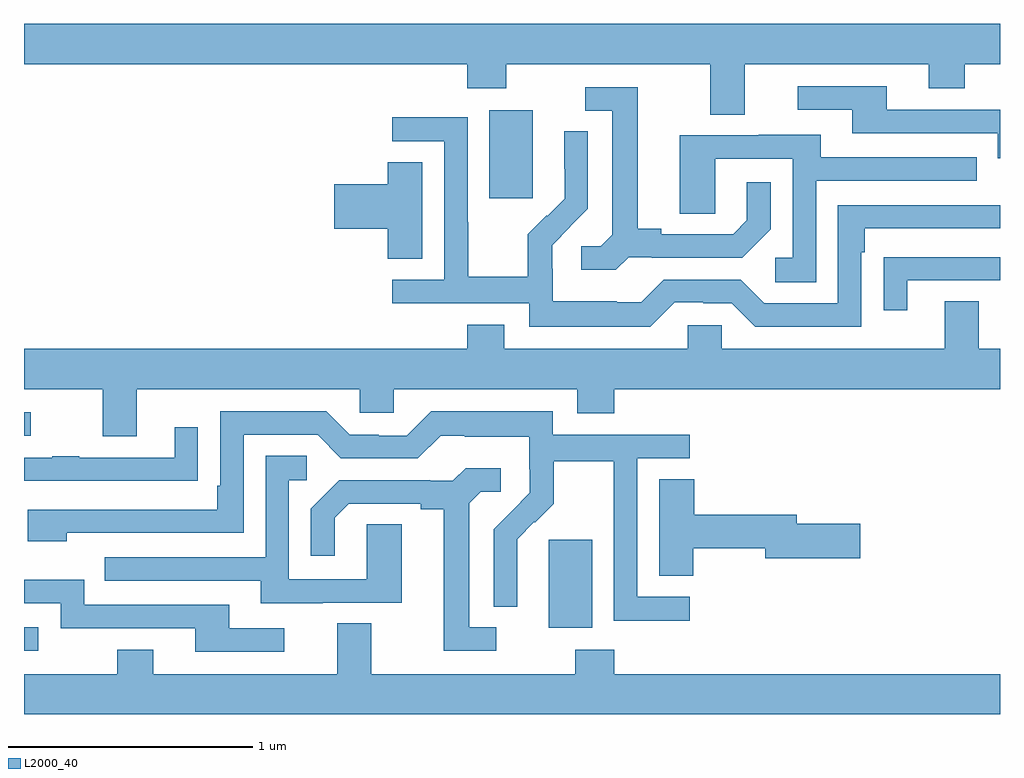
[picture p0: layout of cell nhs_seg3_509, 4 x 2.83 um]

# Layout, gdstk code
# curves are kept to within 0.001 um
import gdstk
lib = gdstk.Library(unit=1e-6, precision=1e-09)
def R(c, l, rs):  # rectangles x0, y0, x1, y1
    for r in rs: c.add(gdstk.rectangle(r[:2], r[2:], *l))
def P(c, l, *ps):  # polygons
    for p in ps: c.add(gdstk.Polygon(p, *l))
L2000_40 = (2000, 40)

nhs_seg3_509 = lib.new_cell('nhs_seg3_509')
R(nhs_seg3_509, L2000_40, [(135,745.131,135.058,745.227), (137.15,745.226,137.329,745.587), (135,746.013,135.028,746.109), (136.907,746.985,137.086,747.346)])
P(nhs_seg3_509, L2000_40, [(137.953,747.536),(138.707,747.536),(138.707,747.437),(138.855,747.437),(138.855,747.536),(139,747.536),(139,747.7),(135,747.7),(135,747.536),(136.817,747.536),(136.817,747.437),(136.977,747.437),(136.977,747.536),(137.813,747.536),(137.813,747.328),(137.953,747.328)],
  [(139,747.348),(138.535,747.348),(138.535,747.444),(138.171,747.444),(138.171,747.348),(138.395,747.348),(138.395,747.252),(138.99,747.252),(138.99,747.149),(139,747.149)],
  [(137.478,746.745),(137.572,746.745),(137.572,746.742),(137.944,746.742),(138.06,746.858),(138.06,747.052),(137.963,747.052),(137.963,746.895),(137.906,746.838),(137.611,746.838),(137.611,746.861),(137.515,746.861),(137.515,747.441),(137.301,747.441),(137.301,747.345),(137.411,747.345),(137.411,746.837),(137.364,746.79),(137.283,746.79),(137.283,746.693),(137.426,746.693)],
  [(137.667,746.559),(137.783,746.559),(137.783,746.556),(137.901,746.556),(137.997,746.46),(138.432,746.46),(138.432,746.765),(138.445,746.765),(138.445,746.862),(139,746.862),(139,746.958),(138.336,746.958),(138.336,746.556),(138.033,746.556),(137.937,746.652),(137.622,746.652),(137.529,746.559),(137.429,746.559),(137.429,746.563),(137.166,746.563),(137.166,746.697),(137.164,746.697),(137.164,746.794),(137.31,746.942),(137.31,747.26),(137.214,747.26),(137.214,747.106),(137.216,747.106),(137.216,746.984),(137.145,746.913),(137.142,746.916),(137.065,746.839),(137.065,746.665),(136.821,746.665),(136.821,746.888),(136.818,746.888),(136.818,747.318),(136.509,747.318),(136.509,747.219),(136.722,747.219),(136.722,746.652),(136.509,746.652),(136.509,746.556),(137.07,746.556),(137.07,746.459),(137.567,746.459)],
  [(138.246,747.057),(138.905,747.057),(138.905,747.153),(138.265,747.153),(138.265,747.247),(138.011,747.247),(138.011,747.243),(137.687,747.243),(137.687,746.923),(137.832,746.923),(137.832,747.147),(138.15,747.147),(138.15,746.742),(138.078,746.742),(138.078,746.641),(138.246,746.641)],
  [(136.633,747.134),(136.49,747.134),(136.49,747.044),(136.272,747.044),(136.272,746.861),(136.49,746.861),(136.49,746.737),(136.633,746.737)],
  [(138.619,746.649),(139,746.649),(139,746.745),(138.625,746.745),(138.625,746.744),(138.523,746.744),(138.523,746.526),(138.619,746.526)],
  [(135.463,746.204),(136.377,746.204),(136.377,746.106),(136.515,746.106),(136.515,746.204),(137.267,746.204),(137.267,746.105),(137.42,746.105),(137.42,746.204),(139,746.204),(139,746.368),(138.913,746.368),(138.913,746.563),(138.773,746.563),(138.773,746.368),(137.859,746.368),(137.859,746.466),(137.721,746.466),(137.721,746.368),(136.969,746.368),(136.969,746.467),(136.817,746.467),(136.817,746.368),(135,746.368),(135,746.204),(135.323,746.204),(135.323,746.01),(135.463,746.01)],
  [(137.728,745.353),(137.514,745.353),(137.514,745.92),(137.728,745.92),(137.728,746.016),(137.166,746.016),(137.166,746.113),(136.669,746.113),(136.569,746.013),(136.454,746.013),(136.454,746.016),(136.335,746.016),(136.239,746.112),(135.804,746.112),(135.804,745.807),(135.791,745.807),(135.791,745.71),(135.015,745.71),(135.015,745.58),(135.176,745.58),(135.176,745.614),(135.9,745.614),(135.9,746.016),(136.203,746.016),(136.299,745.92),(136.614,745.92),(136.707,746.013),(136.807,746.013),(136.807,746.009),(137.07,746.009),(137.07,745.875),(137.072,745.875),(137.072,745.778),(136.926,745.63),(136.926,745.312),(137.022,745.312),(137.021,745.589),(137.091,745.659),(137.094,745.656),(137.171,745.733),(137.171,745.908),(137.416,745.908),(137.416,745.684),(137.418,745.684),(137.418,745.255),(137.728,745.255)],
  [(135.611,745.828),(135.713,745.828),(135.713,746.047),(135.617,746.047),(135.617,745.923),(135.227,745.923),(135.227,745.928),(135.115,745.928),(135.115,745.923),(135,745.923),(135,745.827),(135.611,745.827)],
  [(136.225,745.329),(136.549,745.329),(136.549,745.649),(136.404,745.649),(136.404,745.425),(136.086,745.425),(136.086,745.83),(136.159,745.83),(136.159,745.931),(135.99,745.931),(135.99,745.515),(135.331,745.515),(135.331,745.419),(135.971,745.419),(135.971,745.325),(136.225,745.325)],
  [(136.936,745.227),(136.825,745.227),(136.825,745.735),(136.872,745.782),(136.954,745.782),(136.954,745.879),(136.81,745.879),(136.758,745.827),(136.664,745.827),(136.664,745.83),(136.292,745.83),(136.176,745.714),(136.176,745.521),(136.273,745.521),(136.273,745.677),(136.33,745.734),(136.625,745.734),(136.625,745.712),(136.721,745.712),(136.721,745.131),(136.936,745.131)],
  [(137.742,745.552),(138.038,745.552),(138.038,745.51),(138.427,745.51),(138.427,745.652),(138.166,745.652),(138.166,745.688),(137.747,745.688),(137.747,745.835),(137.603,745.835),(137.603,745.438),(137.742,745.438)],
  [(136.066,745.224),(135.841,745.224),(135.841,745.32),(135.246,745.32),(135.246,745.423),(135,745.423),(135,745.326),(135.15,745.326),(135.15,745.224),(135.701,745.224),(135.701,745.128),(136.066,745.128)],
  [(139,745.036),(137.42,745.036),(137.42,745.135),(137.26,745.135),(137.26,745.036),(136.423,745.036),(136.423,745.244),(136.283,745.244),(136.283,745.036),(135.529,745.036),(135.529,745.135),(135.382,745.135),(135.382,745.036),(135,745.036),(135,744.872),(139,744.872)])

lib.write_gds('nhs_seg3_509.gds')
